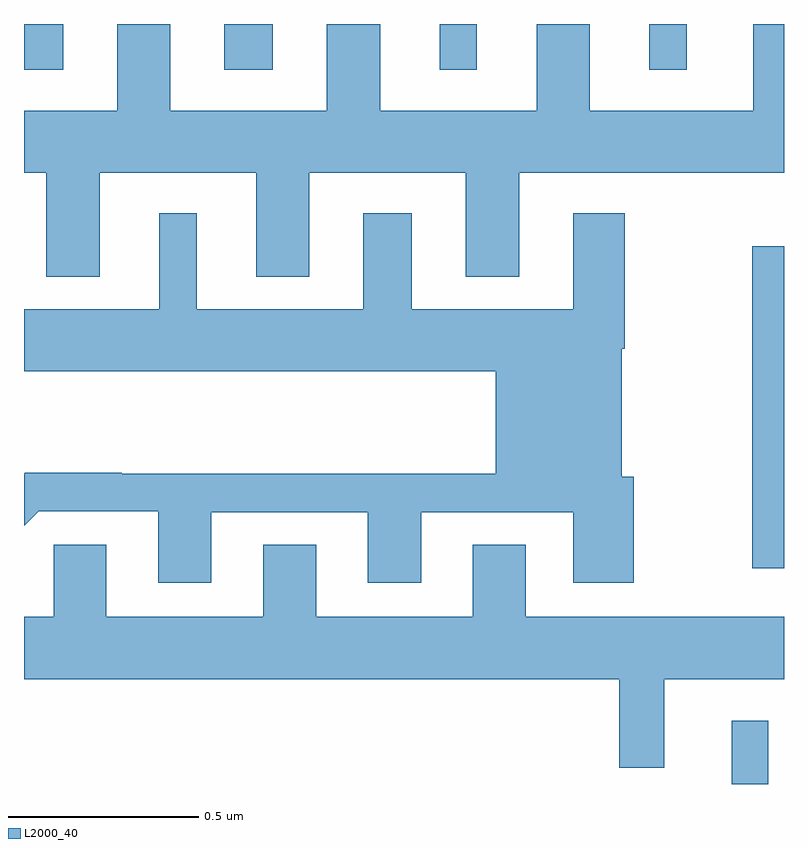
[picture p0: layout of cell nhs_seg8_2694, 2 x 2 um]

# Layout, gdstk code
import gdstk
lib = gdstk.Library(unit=1e-6, precision=1e-09)
def R(c, l, rs):  # rectangles x0, y0, x1, y1
    for r in rs: c.add(gdstk.rectangle(r[:2], r[2:], *l))
def P(c, l, *ps):  # polygons
    for p in ps: c.add(gdstk.Polygon(p, *l))
L2000_40 = (2000, 40)

nhs_seg8_2694 = lib.new_cell('nhs_seg8_2694')
R(nhs_seg8_2694, L2000_40, [(148.862,1106.9,148.959,1107.067), (148.917,1107.468,149,1108.315), (147,1108.779,147.103,1108.9), (147.527,1108.779,147.655,1108.9), (148.094,1108.779,148.192,1108.9), (148.646,1108.779,148.744,1108.9)])
P(nhs_seg8_2694, L2000_40, [(147.199,1108.508),(147.611,1108.508),(147.611,1108.235),(147.751,1108.235),(147.751,1108.508),(148.163,1108.508),(148.163,1108.235),(148.303,1108.235),(148.303,1108.508),(149,1108.508),(149,1108.9),(148.919,1108.9),(148.919,1108.672),(148.489,1108.672),(148.489,1108.9),(148.349,1108.9),(148.349,1108.672),(147.937,1108.672),(147.937,1108.9),(147.797,1108.9),(147.797,1108.672),(147.385,1108.672),(147.385,1108.9),(147.245,1108.9),(147.245,1108.672),(147,1108.672),(147,1108.508),(147.059,1108.508),(147.059,1108.235),(147.199,1108.235)],
  [(147.493,1107.615),(147.905,1107.615),(147.905,1107.429),(148.045,1107.429),(148.045,1107.615),(148.445,1107.615),(148.445,1107.429),(148.605,1107.429),(148.605,1107.708),(148.573,1107.708),(148.573,1108.046),(148.581,1108.046),(148.581,1108.402),(148.445,1108.402),(148.445,1108.15),(148.021,1108.15),(148.021,1108.402),(147.893,1108.402),(147.893,1108.15),(147.454,1108.15),(147.454,1108.402),(147.356,1108.402),(147.356,1108.15),(147,1108.15),(147,1107.986),(148.241,1107.986),(148.241,1107.716),(147.257,1107.716),(147.257,1107.719),(147.002,1107.719),(147,1107.717),(147,1107.579),(147.039,1107.618),(147.353,1107.618),(147.353,1107.429),(147.493,1107.429)],
  [(148.685,1107.176),(149,1107.176),(149,1107.34),(148.321,1107.34),(148.321,1107.53),(148.181,1107.53),(148.181,1107.34),(147.769,1107.34),(147.769,1107.53),(147.629,1107.53),(147.629,1107.34),(147.217,1107.34),(147.217,1107.53),(147.078,1107.53),(147.078,1107.34),(147,1107.34),(147,1107.176),(148.567,1107.176),(148.567,1106.943),(148.685,1106.943)])

lib.write_gds('nhs_seg8_2694.gds')
